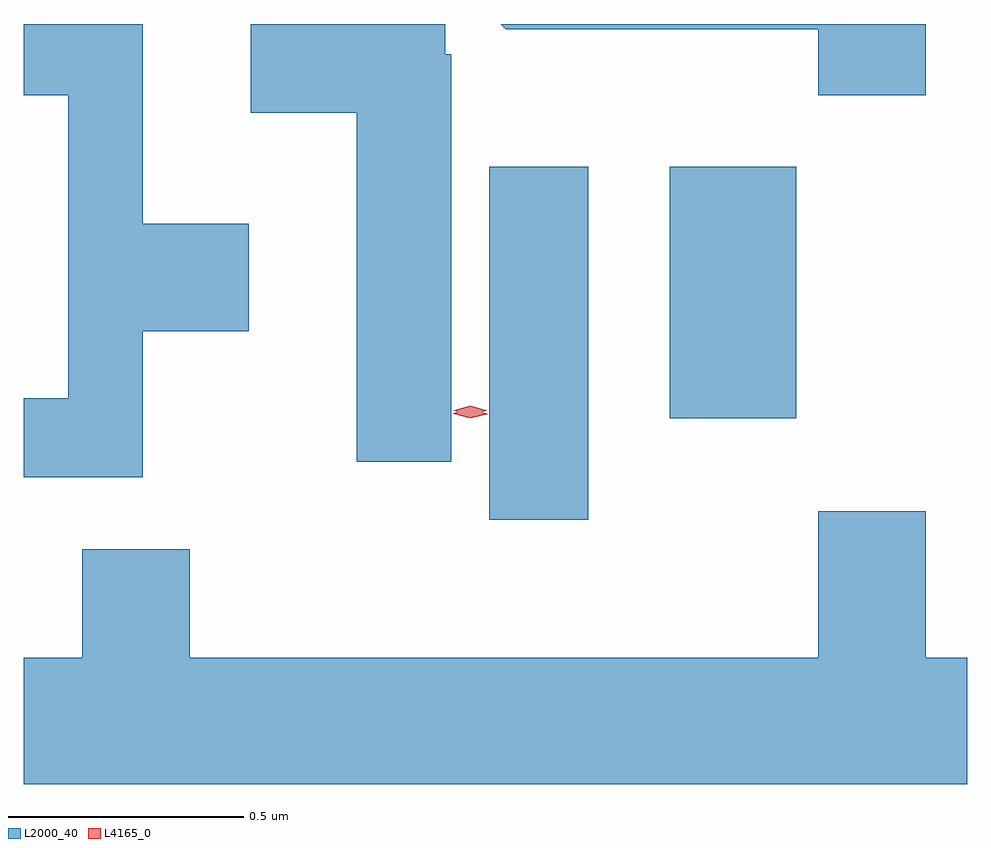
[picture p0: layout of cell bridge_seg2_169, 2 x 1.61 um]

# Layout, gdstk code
import gdstk
lib = gdstk.Library(unit=1e-6, precision=1e-09)
def R(c, l, rs):  # rectangles x0, y0, x1, y1
    for r in rs: c.add(gdstk.rectangle(r[:2], r[2:], *l))
def P(c, l, *ps):  # polygons
    for p in ps: c.add(gdstk.Polygon(p, *l))
L2000_40 = (2000, 40)
L4165_0 = (4165, 0)

bridge_seg2_169 = lib.new_cell('bridge_seg2_169')
R(bridge_seg2_169, L2000_40, [(817.274,1073.296,817.484,1074.044), (817.656,1073.511,817.924,1074.044)])
P(bridge_seg2_169, L2000_40, [(816.539,1073.696),(816.764,1073.696),(816.764,1073.924),(816.539,1073.924),(816.539,1074.347),(816.287,1074.347),(816.287,1074.196),(816.381,1074.196),(816.381,1073.554),(816.287,1073.554),(816.287,1073.386),(816.539,1073.386)],
  [(818.199,1074.347),(817.298,1074.347),(817.309,1074.336),(817.971,1074.336),(817.971,1074.196),(818.199,1074.196)],
  [(817.193,1074.283),(817.18,1074.283),(817.18,1074.347),(816.768,1074.347),(816.768,1074.159),(816.993,1074.159),(816.993,1073.419),(817.193,1073.419)],
  [(818.287,1073.004),(818.199,1073.004),(818.199,1073.314),(817.971,1073.314),(817.971,1073.004),(816.639,1073.004),(816.639,1073.234),(816.411,1073.234),(816.411,1073.004),(816.287,1073.004),(816.287,1072.736),(818.287,1072.736)])
P(bridge_seg2_169, L4165_0, [(817.233,1073.511),(817.197,1073.521),(817.197,1073.522),(817.197,1073.522),(817.234,1073.531),(817.269,1073.521),(817.27,1073.52),(817.269,1073.52)],
  [(817.234,1073.518),(817.2,1073.527),(817.199,1073.528),(817.2,1073.528),(817.234,1073.538),(817.267,1073.528),(817.268,1073.528),(817.267,1073.527)])

lib.write_gds('bridge_seg2_169.gds')
